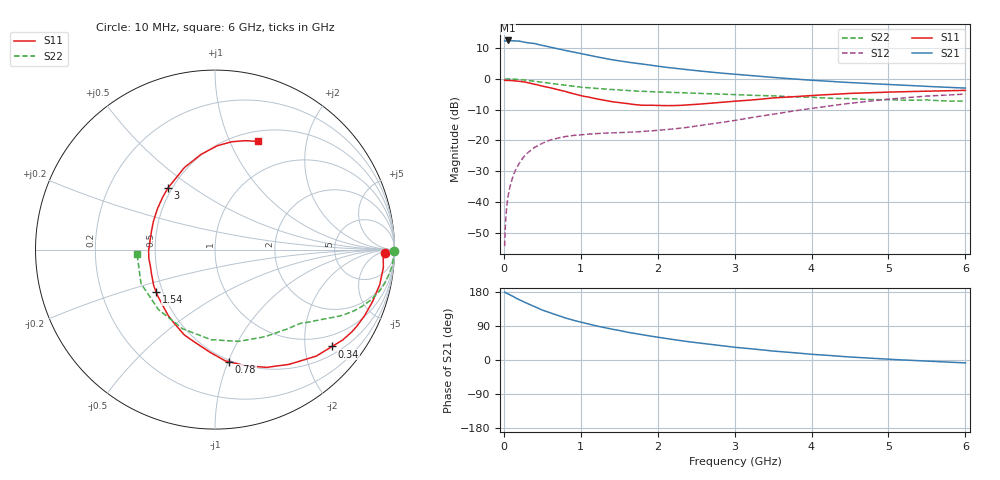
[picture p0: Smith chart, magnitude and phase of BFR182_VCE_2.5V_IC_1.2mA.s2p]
! Infineon Technologies  Discrete & RF Semiconductors
! BFR182
! VCE =  2.5 V,  IC =  1.2 mA
! Common Emitter S-Parameters:  Nov 2015
# GHz  S  MA  R  50
!  f  S11  S21  S12  S22
! GHz  MAG  ANG  MAG  ANG  MAG  ANG  MAG  ANG
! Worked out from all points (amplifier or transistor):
!   210 points, 10 MHz to 6 GHz, reference 50 ohm
!   highest |S21| = 12.5 dB at 50 MHz (marker M1)
!   |S21| within 3 dB of that: start of sweep to 754.2 MHz
!   unconditionally stable (mu >= 1): 1.684 GHz to 3.234 GHz
!   at 185 MHz: K = 0.14, MSG = 20.2 dB, |S12| = -28.1 dB
!   at 1.52 GHz: K = 0.92, MSG = 11.6 dB, |S12| = -17.5 dB
!   at 6 GHz: K = 0.94, MSG = 1.0 dB, |S12| = -5.0 dB
!   S11 on the Smith chart (normalised r, x): 10 MHz: 31, -12; 340 MHz: 0.69, -2.62; 780 MHz: 0.49, -1.01; 1.54 GHz: 0.46, -0.26; 3 GHz: 0.48, +0.40; 6 GHz: 0.61, +1.28
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0.01  0.9456 -1.2  4.147 179.3  0.0019 89.6  0.9975 -0.5
0.015  0.942 -1.8  4.116 178.6  0.003 89.1  0.9932 -0.7
0.025  0.939 -3.0  4.103 177.3  0.0053 88.2  0.9901 -1.3
0.05  0.9433 -6.1  4.198 175.0  0.0112 87.1  0.9958 -2.5
0.09  0.9384 -10.8  4.164 171.1  0.0197 83.9  0.9925 -4.5
0.15  0.9248 -18.1  4.122 164.1  0.0325 78.4  0.9821 -7.4
0.2  0.9111 -23.9  4.101 159.2  0.0421 75.3  0.9719 -9.7
0.34  0.8469 -39.6  3.808 146.1  0.0672 66.4  0.9325 -15.5
0.4  0.8191 -46.4  3.741 140.9  0.0767 63.1  0.9137 -17.9
0.5  0.7617 -57.0  3.492 131.7  0.0894 58.3  0.8769 -21.2
0.7  0.6682 -75.4  3.08 117.7  0.1087 50.0  0.8136 -26.2
0.78  0.6298 -82.8  2.925 112.4  0.1139 47.5  0.7905 -27.8
1.02  0.5254 -103.0  2.54 98.7  0.1232 42.7  0.7283 -31.9
1.2  0.4732 -117.8  2.284 90.0  0.1282 40.6  0.6973 -34.4
1.54  0.4039 -144.2  1.925 76.2  0.1339 40.4  0.6532 -38.4
2.02  0.3687 179.6  1.585 59.6  0.1461 45.6  0.6112 -44.5
2.4  0.377 155.9  1.396 48.3  0.1631 50.8  0.5871 -50.5
3  0.4319 127.3  1.187 33.6  0.21 55.6  0.553 -62.2
3.1  0.4399 123.6  1.157 31.8  0.221 55.6  0.5458 -64.7
4.1  0.5436 96.3  0.93 13.8  0.3435 50.9  0.4926 -96.3
5.1  0.6114 79.9  0.8 1.0  0.4768 37.2  0.4527 -137.6
6  0.6479 68.5  0.706 -7.6  0.5645 21.5  0.4351 -176.9
